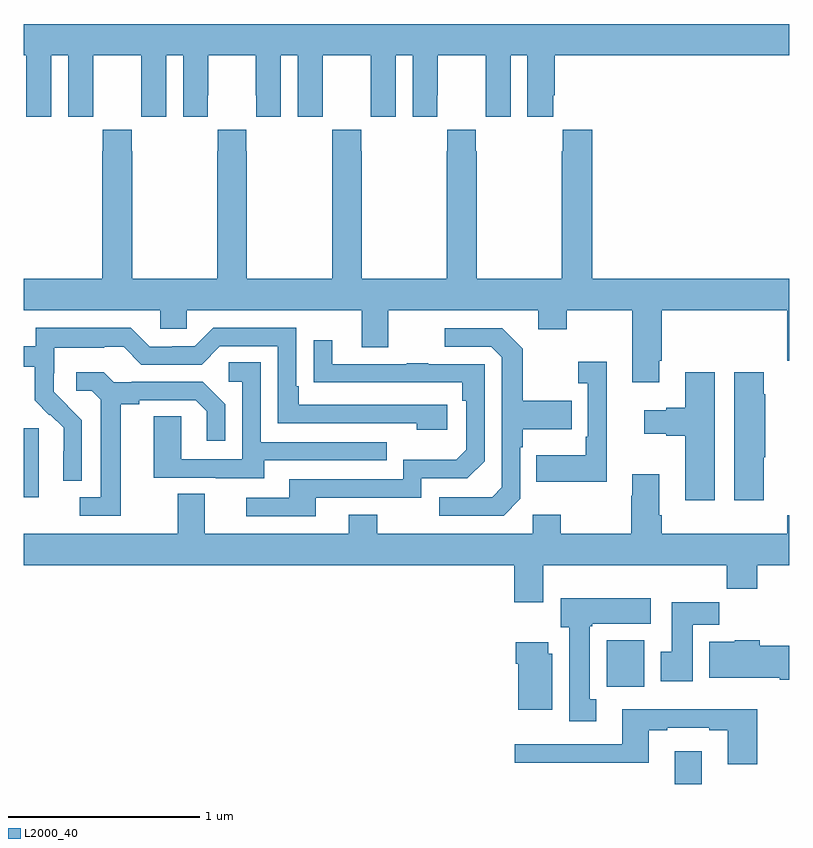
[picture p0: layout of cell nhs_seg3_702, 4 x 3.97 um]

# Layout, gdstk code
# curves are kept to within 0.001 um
import gdstk
lib = gdstk.Library(unit=1e-6, precision=1e-09)
def R(c, l, rs):  # rectangles x0, y0, x1, y1
    for r in rs: c.add(gdstk.rectangle(r[:2], r[2:], *l))
def P(c, l, *ps):  # polygons
    for p in ps: c.add(gdstk.Polygon(p, *l))
L2000_40 = (2000, 40)

nhs_seg3_702 = lib.new_cell('nhs_seg3_702')
R(nhs_seg3_702, L2000_40, [(148.403,738.4,148.543,738.571), (148.046,738.908,148.243,739.15), (145,739.898,145.078,740.259)])
P(nhs_seg3_702, L2000_40, [(145.144,742.208),(145.232,742.208),(145.232,741.888),(145.362,741.888),(145.362,742),(145.363,742),(145.363,742.208),(145.613,742.208),(145.613,742),(145.614,742),(145.614,741.888),(145.744,741.888),(145.744,742.208),(145.832,742.208),(145.832,741.888),(145.962,741.888),(145.962,742),(145.963,742),(145.963,742.208),(146.213,742.208),(146.213,742),(146.214,742),(146.214,741.888),(146.344,741.888),(146.344,742.208),(146.432,742.208),(146.432,741.888),(146.562,741.888),(146.562,742),(146.563,742),(146.563,742.208),(146.813,742.208),(146.813,742),(146.814,742),(146.814,741.888),(146.944,741.888),(146.944,742.208),(147.032,742.208),(147.032,741.888),(147.162,741.888),(147.162,742),(147.163,742),(147.163,742.208),(147.413,742.208),(147.413,742),(147.414,742),(147.414,741.888),(147.544,741.888),(147.544,742.208),(147.632,742.208),(147.632,741.888),(147.766,741.888),(147.766,742),(147.776,742),(147.776,742.208),(149,742.208),(149,742.372),(145,742.372),(145,742.208),(145.013,742.208),(145.013,742),(145.014,742),(145.014,741.888),(145.144,741.888)],
  [(148.321,740.611),(148.334,740.611),(148.334,740.876),(148.991,740.876),(148.991,740.611),(149,740.611),(149,741.04),(147.971,741.04),(147.971,741.82),(147.817,741.82),(147.817,741.707),(147.811,741.707),(147.811,741.04),(147.366,741.04),(147.366,741.707),(147.363,741.707),(147.363,741.82),(147.213,741.82),(147.213,741.707),(147.211,741.707),(147.211,741.04),(146.766,741.04),(146.766,741.707),(146.763,741.707),(146.763,741.82),(146.613,741.82),(146.613,741.707),(146.611,741.707),(146.611,741.04),(146.166,741.04),(146.166,741.707),(146.163,741.707),(146.163,741.82),(146.013,741.82),(146.013,741.707),(146.011,741.707),(146.011,741.04),(145.566,741.04),(145.566,741.707),(145.563,741.707),(145.563,741.82),(145.413,741.82),(145.413,741.707),(145.411,741.707),(145.411,741.04),(145,741.04),(145,740.876),(145.713,740.876),(145.713,740.778),(145.851,740.778),(145.851,740.876),(146.765,740.876),(146.765,740.682),(146.905,740.682),(146.905,740.876),(147.689,740.876),(147.689,740.777),(147.837,740.777),(147.837,740.876),(148.181,740.876),(148.181,740.499),(148.321,740.499)],
  [(145.302,740.302),(145.156,740.45),(145.156,740.547),(145.158,740.547),(145.158,740.681),(145.421,740.681),(145.421,740.685),(145.521,740.685),(145.614,740.592),(145.929,740.592),(146.025,740.688),(146.328,740.688),(146.328,740.286),(147.053,740.286),(147.053,740.252),(147.214,740.252),(147.214,740.382),(146.437,740.382),(146.437,740.479),(146.424,740.479),(146.424,740.784),(145.989,740.784),(145.893,740.688),(145.775,740.688),(145.775,740.685),(145.659,740.685),(145.559,740.785),(145.062,740.785),(145.062,740.688),(145,740.688),(145,740.58),(145.057,740.58),(145.057,740.405),(145.134,740.328),(145.137,740.331),(145.208,740.261),(145.208,740.138),(145.206,740.138),(145.206,739.984),(145.302,739.984)],
  [(147.594,739.89),(147.594,740.159),(147.607,740.159),(147.607,740.255),(147.863,740.255),(147.863,740.403),(147.607,740.403),(147.607,740.675),(147.501,740.781),(147.201,740.781),(147.201,740.685),(147.444,740.685),(147.498,740.631),(147.498,739.95),(147.447,739.899),(147.171,739.899),(147.171,739.803),(147.507,739.803)],
  [(146.527,739.896),(147.078,739.896),(147.078,739.998),(147.318,739.998),(147.408,740.088),(147.408,740.595),(147.113,740.595),(147.113,740.6),(147.001,740.6),(147.001,740.595),(146.611,740.595),(146.611,740.719),(146.515,740.719),(146.515,740.5),(147.292,740.499),(147.292,740.402),(147.312,740.402),(147.312,740.148),(147.259,740.095),(146.982,740.095),(146.982,739.992),(146.387,739.992),(146.387,739.896),(146.163,739.896),(146.163,739.8),(146.527,739.8)],
  [(148.046,740.608),(147.897,740.608),(147.897,740.495),(147.948,740.495),(147.948,740.215),(147.936,740.215),(147.936,740.119),(147.679,740.119),(147.679,739.979),(148.046,739.979)],
  [(146.257,740.091),(146.897,740.091),(146.897,740.187),(146.238,740.187),(146.238,740.603),(146.07,740.603),(146.07,740.502),(146.142,740.502),(146.142,740.097),(145.824,740.097),(145.824,740.321),(145.679,740.321),(145.679,740.001),(146.003,740.001),(146.003,739.997),(146.257,739.997)],
  [(148.867,740.107),(148.875,740.107),(148.875,740.438),(148.867,740.438),(148.867,740.551),(148.712,740.551),(148.712,739.884),(148.867,739.884)],
  [(148.612,740.551),(148.457,740.551),(148.457,740.366),(148.358,740.366),(148.358,740.353),(148.242,740.353),(148.242,740.231),(148.358,740.231),(148.358,740.219),(148.457,740.219),(148.457,739.884),(148.612,739.884)],
  [(145.507,740.384),(145.603,740.384),(145.603,740.406),(145.898,740.406),(145.955,740.349),(145.955,740.193),(146.052,740.193),(146.052,740.386),(145.936,740.502),(145.564,740.502),(145.564,740.499),(145.47,740.499),(145.418,740.551),(145.275,740.551),(145.275,740.454),(145.356,740.454),(145.403,740.407),(145.403,739.899),(145.293,739.899),(145.293,739.803),(145.507,739.803)],
  [(147.715,739.544),(148.675,739.544),(148.675,739.42),(148.832,739.42),(148.832,739.544),(149,739.544),(149,739.804),(148.991,739.804),(148.991,739.708),(148.334,739.708),(148.334,739.804),(148.321,739.804),(148.321,740.02),(148.181,740.02),(148.181,739.907),(148.174,739.907),(148.174,739.708),(147.807,739.708),(147.807,739.807),(147.66,739.807),(147.66,739.708),(146.847,739.708),(146.847,739.807),(146.699,739.807),(146.699,739.708),(145.945,739.708),(145.945,739.916),(145.805,739.916),(145.805,739.708),(145,739.708),(145,739.544),(147.563,739.544),(147.563,739.35),(147.715,739.35)],
  [(147.991,738.842),(147.958,738.842),(147.958,739.225),(147.972,739.225),(147.972,739.238),(148.276,739.238),(148.276,739.372),(147.806,739.372),(147.806,739.218),(147.851,739.218),(147.851,738.729),(147.991,738.729)],
  [(148.495,739.232),(148.634,739.232),(148.634,739.351),(148.385,739.351),(148.385,739.092),(148.328,739.092),(148.328,738.936),(148.495,738.936)],
  [(149,739.122),(148.847,739.122),(148.847,739.15),(148.716,739.15),(148.716,739.144),(148.583,739.144),(148.583,738.956),(148.952,738.956),(148.952,738.944),(149,738.944)],
  [(147.763,739.08),(147.742,739.08),(147.742,739.141),(147.572,739.141),(147.572,739.028),(147.584,739.028),(147.584,738.788),(147.763,738.788)],
  [(148.832,738.79),(148.127,738.79),(148.127,738.609),(147.567,738.609),(147.567,738.512),(148.267,738.512),(148.267,738.681),(148.363,738.681),(148.363,738.693),(148.583,738.693),(148.583,738.681),(148.679,738.681),(148.679,738.504),(148.832,738.504)])

lib.write_gds('nhs_seg3_702.gds')
